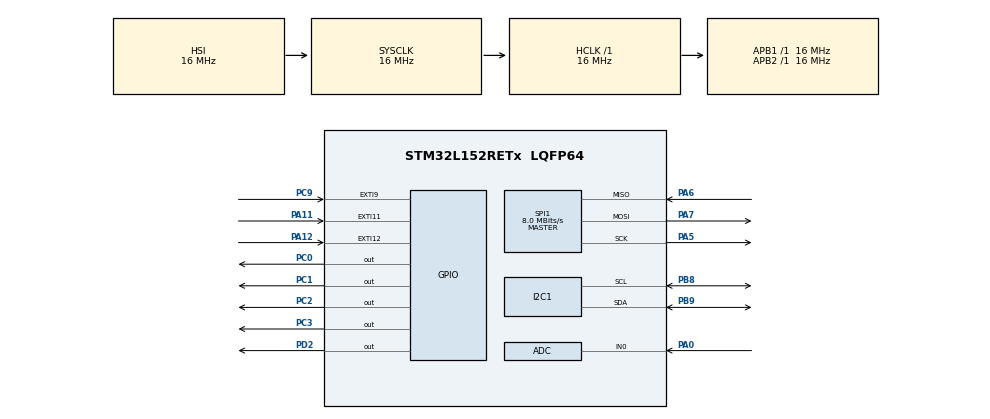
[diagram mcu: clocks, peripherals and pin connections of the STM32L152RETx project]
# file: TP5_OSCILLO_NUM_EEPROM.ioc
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ADC.Channel-0\#ChannelRegularConversion=ADC_CHANNEL_0
ADC.NbrOfConversionFlag=1
ADC.Rank-0\#ChannelRegularConversion=1
ADC.SamplingTime-0\#ChannelRegularConversion=ADC_SAMPLETIME_4CYCLES
Mcu.Family=STM32L1
Mcu.Name=STM32L152RETx
Mcu.Package=LQFP64
NVIC.ADC1_IRQn=true\:0\:0\:false\:false\:true\:true\:true\:true
NVIC.EXTI15_10_IRQn=true\:0\:0\:false\:false\:true\:true\:true\:true
NVIC.EXTI9_5_IRQn=true\:0\:0\:false\:false\:true\:true\:true\:true
NVIC.PriorityGroup=NVIC_PRIORITYGROUP_4
PA0-WKUP1.Mode=IN0
PA0-WKUP1.Signal=ADC_IN0
PA11.Signal=GPXTI11
PA12.Signal=GPXTI12
PA5.Mode=Full_Duplex_Master
PA5.Signal=SPI1_SCK
PA6.Mode=Full_Duplex_Master
PA6.Signal=SPI1_MISO
PA7.Mode=Full_Duplex_Master
PA7.Signal=SPI1_MOSI
PB8.Mode=I2C
PB8.Signal=I2C1_SCL
PB9.Mode=I2C
PB9.Signal=I2C1_SDA
PC0.Signal=GPIO_Output
PC1.PinState=GPIO_PIN_SET
PC1.Signal=GPIO_Output
PC2.PinState=GPIO_PIN_SET
PC2.Signal=GPIO_Output
PC3.PinState=GPIO_PIN_SET
PC3.Signal=GPIO_Output
PC9.Signal=GPXTI9
PD2.PinState=GPIO_PIN_SET
PD2.Signal=GPIO_Output
ProjectManager.HeapSize=0x200
ProjectManager.StackSize=0x400
ProjectManager.TargetToolchain=STM32CubeIDE
RCC.AHBFreq_Value=16000000
RCC.APB1Freq_Value=16000000
RCC.APB1TimFreq_Value=16000000
RCC.APB2Freq_Value=16000000
RCC.APB2TimFreq_Value=16000000
RCC.HCLKFreq_Value=16000000
RCC.HSE_VALUE=24000000
RCC.HSI_VALUE=16000000
RCC.LSE_VALUE=32768
RCC.MSI_VALUE=2097000
RCC.SYSCLKFreq_VALUE=16000000
RCC.SYSCLKSource=RCC_SYSCLKSOURCE_HSI
RCC.VCOOutputFreq_Value=48000000
SPI1.CalculateBaudRate=8.0 MBits/s
SPI1.Direction=SPI_DIRECTION_2LINES
SPI1.Mode=SPI_MODE_MASTER
SPI1.VirtualType=VM_MASTER
board=custom

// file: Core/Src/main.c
/* USER CODE BEGIN Header */
/**
  ******************************************************************************
  * @file           : main.c
  * @brief          : Main program body
  ******************************************************************************
  * @attention
  *
  * Copyright (c) 2025 STMicroelectronics.
  * All rights reserved.
  *
  * This software is licensed under terms that can be found in the LICENSE file
  * in the root directory of this software component.
  * If no LICENSE file comes with this software, it is provided AS-IS.
  *
  ******************************************************************************
  */
/* USER CODE END Header */
#include "main.h"

/* USER CODE BEGIN Includes */
#include "max7219.h"
#include "fonc_tft.h"
#include <string.h>

/* USER CODE END Includes */

ADC_HandleTypeDef hadc;

I2C_HandleTypeDef hi2c1;

SPI_HandleTypeDef hspi1;

void SystemClock_Config(void);
static void MX_GPIO_Init(void);
static void MX_SPI1_Init(void);
static void MX_ADC_Init(void);
static void MX_I2C1_Init(void);
/* USER CODE BEGIN PFP */
void drawHLine_TFT(uint16_t x, uint16_t y, uint16_t length, uint16_t color);
void drawAxes();

/* USER CODE END PFP */

/* USER CODE BEGIN 0 */
uint8_t x_pos = 0;
uint8_t rec = 0;
uint8_t read = 0;
uint8_t readed = 0;

void drawHLine_TFT(uint16_t x, uint16_t y, uint16_t length, uint16_t color) {
    for (uint16_t i = 0; i < length; i++) {
        drawPixel_TFT(x + i, y, color);
    }
}

void drawAxes() {
	drawHLine_TFT(0, 127, 115, ST7735_WHITE);
	drawHLine_TFT(0, 88, 115, ST7735_WHITE);
	drawHLine_TFT(0, 50, 115, ST7735_WHITE);
	drawHLine_TFT(0, 11, 115, ST7735_WHITE);

    displayChar_TFT(120, 127, '0', ST7735_WHITE, ST7735_BLACK, 1);
    displayChar_TFT(120, 88, '1', ST7735_WHITE, ST7735_BLACK, 1);
    displayChar_TFT(120, 50, '2', ST7735_WHITE, ST7735_BLACK, 1);
    displayChar_TFT(120, 11, '3', ST7735_WHITE, ST7735_BLACK, 1);

    if (rec == 1) {
    	displayChar_TFT(20, 11, 'E', ST7735_RED, ST7735_BLACK, 1);
    }
}
/* USER CODE END 0 */

int main(void)
{

  /* MCU Configuration--------------------------------------------------------*/

  /* Reset of all peripherals, Initializes the Flash interface and the Systick. */
  HAL_Init();

  /* Configure the system clock */
  SystemClock_Config();

  /* Initialize all configured peripherals */
  MX_GPIO_Init();
  MX_SPI1_Init();
  MX_ADC_Init();
  MX_I2C1_Init();
  /* USER CODE BEGIN 2 */
  MAX7219_Init();
  init_TFT();
  MAX7219_Clear();

  /* USER CODE END 2 */

  /* Infinite loop */
  /* USER CODE BEGIN WHILE */
  drawAxes();
  uint8_t rData[128];
  while (1)
  {
    /* USER CODE END WHILE */

    /* USER CODE BEGIN 3 */

	  if (read == 0) {
		  HAL_ADC_Start(&hadc);
		  HAL_ADC_PollForConversion(&hadc, 1000);
		  uint32_t value = HAL_ADC_GetValue(&hadc);
		  HAL_ADC_Stop(&hadc);

		  uint32_t milivolt = (value / 4096.0) * 3300;
		  uint8_t y_pos = 127 - (milivolt * 127) / 3300;

		  if (rec == 1) {
		          uint8_t address[2] = {0x0, x_pos};
		          uint8_t data[3];
		          memcpy(data, address, 2);
		          data[2] = y_pos;
		          HAL_I2C_Master_Transmit(&hi2c1, 0xA8, data, sizeof(data), 1000);
		  }

		  drawPixel_TFT(x_pos, y_pos, ST7735_YELLOW);
		  x_pos++;
		  if (x_pos >= 128) {
			  rec = 0;
			  read = 0;
			  x_pos = 0;
			  fillScreen_TFT(ST7735_BLACK);
			  drawAxes();
		   }
	  } else if (read == 1) {
		  if (x_pos < 128) {
			  if (readed == 0) {
				  while ((I2C1->SR2 & (1 << 1)) == (1 << 1));
				  uint8_t address[2] = {0x0, 0x0};
				  HAL_I2C_Master_Transmit(&hi2c1, 0xA8, address, 2, 100 );
				  HAL_I2C_Master_Receive(&hi2c1, 0xA8, rData, 128, 100 );
				  readed = 1;
			  }
			  drawPixel_TFT(x_pos, rData[x_pos], ST7735_YELLOW);
			  x_pos++;
			  if (x_pos == 127) {
				  readed = 0;
			  }
		  }
	  }
	  HAL_Delay(100);
  }

  /* USER CODE END 3 */
}

void SystemClock_Config(void)
{
  RCC_OscInitTypeDef RCC_OscInitStruct = {0};
  RCC_ClkInitTypeDef RCC_ClkInitStruct = {0};

  /** Configure the main internal regulator output voltage
  */
  __HAL_PWR_VOLTAGESCALING_CONFIG(PWR_REGULATOR_VOLTAGE_SCALE1);

  /** Initializes the RCC Oscillators according to the specified parameters
  * in the RCC_OscInitTypeDef structure.
  */
  RCC_OscInitStruct.OscillatorType = RCC_OSCILLATORTYPE_HSI;
  RCC_OscInitStruct.HSIState = RCC_HSI_ON;
  RCC_OscInitStruct.HSICalibrationValue = RCC_HSICALIBRATION_DEFAULT;
  RCC_OscInitStruct.PLL.PLLState = RCC_PLL_NONE;
  if (HAL_RCC_OscConfig(&RCC_OscInitStruct) != HAL_OK)
  {
    Error_Handler();
  }

  /** Initializes the CPU, AHB and APB buses clocks
  */
  RCC_ClkInitStruct.ClockType = RCC_CLOCKTYPE_HCLK|RCC_CLOCKTYPE_SYSCLK
                              |RCC_CLOCKTYPE_PCLK1|RCC_CLOCKTYPE_PCLK2;
  RCC_ClkInitStruct.SYSCLKSource = RCC_SYSCLKSOURCE_HSI;
  RCC_ClkInitStruct.AHBCLKDivider = RCC_SYSCLK_DIV1;
  RCC_ClkInitStruct.APB1CLKDivider = RCC_HCLK_DIV1;
  RCC_ClkInitStruct.APB2CLKDivider = RCC_HCLK_DIV1;

  if (HAL_RCC_ClockConfig(&RCC_ClkInitStruct, FLASH_LATENCY_0) != HAL_OK)
  {
    Error_Handler();
  }
}

static void MX_ADC_Init(void)
{

  ADC_ChannelConfTypeDef sConfig = {0};

  /** Configure the global features of the ADC (Clock, Resolution, Data Alignment and number of conversion)
  */
  hadc.Instance = ADC1;
  hadc.Init.ClockPrescaler = ADC_CLOCK_ASYNC_DIV1;
  hadc.Init.Resolution = ADC_RESOLUTION_12B;
  hadc.Init.DataAlign = ADC_DATAALIGN_RIGHT;
  hadc.Init.ScanConvMode = ADC_SCAN_DISABLE;
  hadc.Init.EOCSelection = ADC_EOC_SEQ_CONV;
  hadc.Init.LowPowerAutoWait = ADC_AUTOWAIT_DISABLE;
  hadc.Init.LowPowerAutoPowerOff = ADC_AUTOPOWEROFF_DISABLE;
  hadc.Init.ChannelsBank = ADC_CHANNELS_BANK_A;
  hadc.Init.ContinuousConvMode = DISABLE;
  hadc.Init.NbrOfConversion = 1;
  hadc.Init.DiscontinuousConvMode = DISABLE;
  hadc.Init.ExternalTrigConv = ADC_SOFTWARE_START;
  hadc.Init.ExternalTrigConvEdge = ADC_EXTERNALTRIGCONVEDGE_NONE;
  hadc.Init.DMAContinuousRequests = DISABLE;
  if (HAL_ADC_Init(&hadc) != HAL_OK)
  {
    Error_Handler();
  }

  /** Configure for the selected ADC regular channel its corresponding rank in the sequencer and its sample time.
  */
  sConfig.Channel = ADC_CHANNEL_0;
  sConfig.Rank = ADC_REGULAR_RANK_1;
  sConfig.SamplingTime = ADC_SAMPLETIME_4CYCLES;
  if (HAL_ADC_ConfigChannel(&hadc, &sConfig) != HAL_OK)
  {
    Error_Handler();
  }

}

static void MX_I2C1_Init(void)
{

  hi2c1.Instance = I2C1;
  hi2c1.Init.ClockSpeed = 100000;
  hi2c1.Init.DutyCycle = I2C_DUTYCYCLE_2;
  hi2c1.Init.OwnAddress1 = 0;
  hi2c1.Init.AddressingMode = I2C_ADDRESSINGMODE_7BIT;
  hi2c1.Init.DualAddressMode = I2C_DUALADDRESS_DISABLE;
  hi2c1.Init.OwnAddress2 = 0;
  hi2c1.Init.GeneralCallMode = I2C_GENERALCALL_DISABLE;
  hi2c1.Init.NoStretchMode = I2C_NOSTRETCH_DISABLE;
  if (HAL_I2C_Init(&hi2c1) != HAL_OK)
  {
    Error_Handler();
  }

}

static void MX_SPI1_Init(void)
{

  /* SPI1 parameter configuration*/
  hspi1.Instance = SPI1;
  hspi1.Init.Mode = SPI_MODE_MASTER;
  hspi1.Init.Direction = SPI_DIRECTION_2LINES;
  hspi1.Init.DataSize = SPI_DATASIZE_8BIT;
  hspi1.Init.CLKPolarity = SPI_POLARITY_LOW;
  hspi1.Init.CLKPhase = SPI_PHASE_1EDGE;
  hspi1.Init.NSS = SPI_NSS_SOFT;
  hspi1.Init.BaudRatePrescaler = SPI_BAUDRATEPRESCALER_2;
  hspi1.Init.FirstBit = SPI_FIRSTBIT_MSB;
  hspi1.Init.TIMode = SPI_TIMODE_DISABLE;
  hspi1.Init.CRCCalculation = SPI_CRCCALCULATION_DISABLE;
  hspi1.Init.CRCPolynomial = 10;
  if (HAL_SPI_Init(&hspi1) != HAL_OK)
  {
    Error_Handler();
  }

}

static void MX_GPIO_Init(void)
{
  GPIO_InitTypeDef GPIO_InitStruct = {0};

  /* GPIO Ports Clock Enable */
  __HAL_RCC_GPIOC_CLK_ENABLE();
  __HAL_RCC_GPIOA_CLK_ENABLE();
  __HAL_RCC_GPIOD_CLK_ENABLE();
  __HAL_RCC_GPIOB_CLK_ENABLE();

  /*Configure GPIO pin Output Level */
  HAL_GPIO_WritePin(GPIOC, GPIO_PIN_0, GPIO_PIN_RESET);

  /*Configure GPIO pin Output Level */
  HAL_GPIO_WritePin(GPIOC, GPIO_PIN_1|GPIO_PIN_2|GPIO_PIN_3, GPIO_PIN_SET);

  /*Configure GPIO pin Output Level */
  HAL_GPIO_WritePin(GPIOD, GPIO_PIN_2, GPIO_PIN_SET);

  /*Configure GPIO pins : PC0 PC1 PC2 PC3 */
  GPIO_InitStruct.Pin = GPIO_PIN_0|GPIO_PIN_1|GPIO_PIN_2|GPIO_PIN_3;
  GPIO_InitStruct.Mode = GPIO_MODE_OUTPUT_PP;
  GPIO_InitStruct.Pull = GPIO_NOPULL;
  GPIO_InitStruct.Speed = GPIO_SPEED_FREQ_LOW;
  HAL_GPIO_Init(GPIOC, &GPIO_InitStruct);

  /*Configure GPIO pin : PC9 */
  GPIO_InitStruct.Pin = GPIO_PIN_9;
  GPIO_InitStruct.Mode = GPIO_MODE_IT_RISING;
  GPIO_InitStruct.Pull = GPIO_NOPULL;
  HAL_GPIO_Init(GPIOC, &GPIO_InitStruct);

  /*Configure GPIO pins : PA11 PA12 */
  GPIO_InitStruct.Pin = GPIO_PIN_11|GPIO_PIN_12;
  GPIO_InitStruct.Mode = GPIO_MODE_IT_RISING;
  GPIO_InitStruct.Pull = GPIO_NOPULL;
  HAL_GPIO_Init(GPIOA, &GPIO_InitStruct);

  /*Configure GPIO pin : PD2 */
  GPIO_InitStruct.Pin = GPIO_PIN_2;
  GPIO_InitStruct.Mode = GPIO_MODE_OUTPUT_PP;
  GPIO_InitStruct.Pull = GPIO_NOPULL;
  GPIO_InitStruct.Speed = GPIO_SPEED_FREQ_LOW;
  HAL_GPIO_Init(GPIOD, &GPIO_InitStruct);

  /* EXTI interrupt init*/
  HAL_NVIC_SetPriority(EXTI9_5_IRQn, 0, 0);
  HAL_NVIC_EnableIRQ(EXTI9_5_IRQn);

  HAL_NVIC_SetPriority(EXTI15_10_IRQn, 0, 0);
  HAL_NVIC_EnableIRQ(EXTI15_10_IRQn);

}

/* USER CODE BEGIN 4 */
void HAL_GPIO_EXTI_Callback(uint16_t GPIO_Pin) {
	if (GPIO_Pin == (1 << 9)) {
		rec = 0;
		read = 0;
		x_pos = 0;
		fillScreen_TFT(ST7735_BLACK);
		drawAxes();
	} else if (GPIO_Pin == (1 << 11)) {
		rec = 1;
		read = 0;
		x_pos = 0;
		fillScreen_TFT(ST7735_BLACK);
		drawAxes();
	} else if (GPIO_Pin == (1 << 12)) {
		rec = 0;
		read = 1;
		x_pos = 0;
		fillScreen_TFT(ST7735_BLACK);
		drawAxes();
	}
}

/* USER CODE END 4 */

void Error_Handler(void)
{
  __disable_irq();
  while (1)
  {
  }
}
